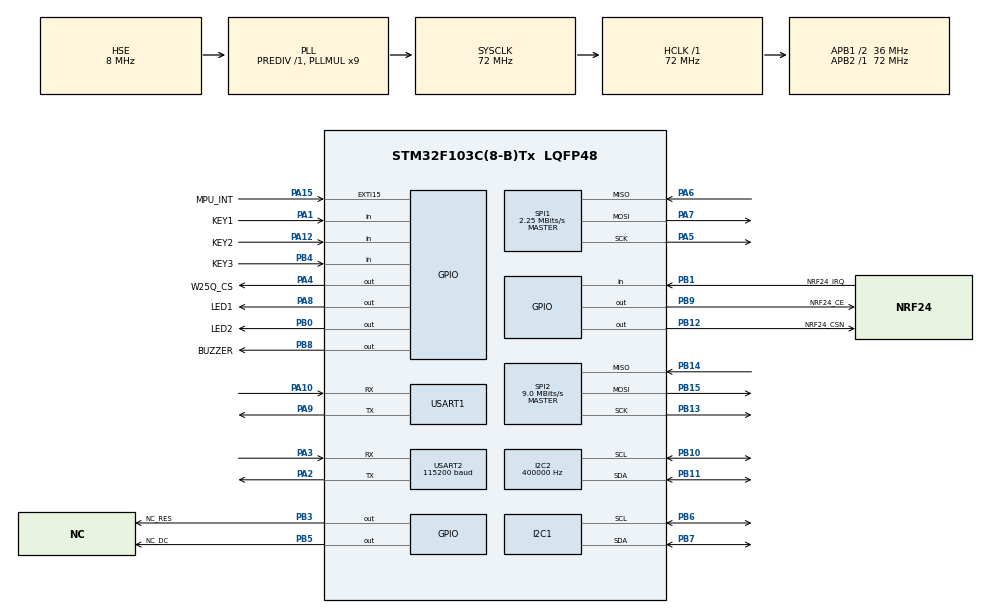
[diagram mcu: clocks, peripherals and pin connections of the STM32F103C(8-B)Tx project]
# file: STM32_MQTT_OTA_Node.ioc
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Dma.Request0=SPI2_TX
Dma.Request1=USART1_TX
Dma.SPI2_TX.0.Direction=DMA_MEMORY_TO_PERIPH
Dma.SPI2_TX.0.Instance=DMA1_Channel5
Dma.SPI2_TX.0.MemDataAlignment=DMA_MDATAALIGN_BYTE
Dma.SPI2_TX.0.MemInc=DMA_MINC_ENABLE
Dma.SPI2_TX.0.Mode=DMA_CIRCULAR
Dma.SPI2_TX.0.PeriphDataAlignment=DMA_PDATAALIGN_BYTE
Dma.SPI2_TX.0.PeriphInc=DMA_PINC_DISABLE
Dma.SPI2_TX.0.Priority=DMA_PRIORITY_LOW
Dma.USART1_TX.0.Direction=DMA_MEMORY_TO_PERIPH
Dma.USART1_TX.0.Instance=DMA1_Channel4
Dma.USART1_TX.0.MemDataAlignment=DMA_MDATAALIGN_BYTE
Dma.USART1_TX.0.MemInc=DMA_MINC_ENABLE
Dma.USART1_TX.0.Mode=DMA_NORMAL
Dma.USART1_TX.0.PeriphDataAlignment=DMA_PDATAALIGN_BYTE
Dma.USART1_TX.0.PeriphInc=DMA_PINC_DISABLE
Dma.USART1_TX.0.Priority=DMA_PRIORITY_LOW
Mcu.Family=STM32F1
Mcu.Name=STM32F103C(8-B)Tx
Mcu.Package=LQFP48
NVIC.EXTI15_10_IRQn=true\\:2\\:0\\:true\\:false\\:true\\:true\\:true
NVIC.DMA1_Channel4_IRQn=true\:9\:0\:true\:false\:true\:false\:true\:true
NVIC.DMA1_Channel5_IRQn=true\:9\:0\:true\:false\:true\:false\:true\:true
NVIC.I2C2_ER_IRQn=true\:9\:0\:true\:false\:true\:false\:true\:true
NVIC.I2C2_EV_IRQn=true\:9\:0\:true\:false\:true\:false\:true\:true
NVIC.PriorityGroup=NVIC_PRIORITYGROUP_4
NVIC.USART1_IRQn=true\:5\:0\:true\:false\:true\:false\:true\:true
NVIC.TIM4_IRQn=true\:0\:0\:true\:false\:true\:false\:true\:true
NVIC.TimeBase=TIM4_IRQn
NVIC.TimeBaseIP=TIM4
PA1.GPIO_Label=KEY1
PA1.GPIO_PuPd=GPIO_PULLUP
PA1.Signal=GPIO_Input
PA10.Mode=Asynchronous
PA10.Signal=USART1_RX
PA15.GPIO_Label=MPU_INT
PA15.GPIO_PuPd=GPIO_PULLUP
PA15.Signal=GPXTI15
PA12.GPIO_Label=KEY2
PA12.GPIO_PuPd=GPIO_PULLUP
PA12.Signal=GPIO_Input
PA13.Mode=Serial_Wire
PA13.Signal=SYS_JTMS-SWDIO
PA14.Mode=Serial_Wire
PA14.Signal=SYS_JTCK-SWCLK
PA2.Mode=Asynchronous
PA2.Signal=USART2_TX
PA3.Mode=Asynchronous
PA3.Signal=USART2_RX
PA4.GPIO_Label=W25Q_CS
PA4.PinState=GPIO_PIN_SET
PA4.Signal=GPIO_Output
PA5.Mode=Full_Duplex_Master
PA5.Signal=SPI1_SCK
PA6.Mode=Full_Duplex_Master
PA6.Signal=SPI1_MISO
PA7.Mode=Full_Duplex_Master
PA7.Signal=SPI1_MOSI
PA8.GPIO_Label=LED1
PA8.PinState=GPIO_PIN_SET
PA8.Signal=GPIO_Output
PA9.Mode=Asynchronous
PA9.Signal=USART1_TX
PB0.GPIO_Label=LED2
PB0.PinState=GPIO_PIN_RESET
PB0.Signal=GPIO_Output
PB1.GPIO_Label=NRF24_IRQ
PB1.GPIO_PuPd=GPIO_PULLUP
PB1.Signal=GPIO_Input
PB10.Mode=I2C
PB10.Signal=I2C2_SCL
PB11.Mode=I2C
PB11.Signal=I2C2_SDA
PB12.GPIO_Label=NRF24_CSN
PB12.PinState=GPIO_PIN_RESET
PB12.Signal=GPIO_Output
PB13.Mode=Full_Duplex_Master
PB13.Signal=SPI2_SCK
PB14.Mode=Full_Duplex_Master
PB14.Signal=SPI2_MISO
PB15.Mode=Full_Duplex_Master
PB15.Signal=SPI2_MOSI
PB3.GPIO_Label=NC_RES
PB3.PinState=GPIO_PIN_SET
PB3.Signal=GPIO_Output
PB4.GPIO_Label=KEY3
PB4.GPIO_PuPd=GPIO_PULLUP
PB4.Signal=GPIO_Input
PB5.GPIO_Label=NC_DC
PB5.PinState=GPIO_PIN_SET
PB5.Signal=GPIO_Output
PB6.Mode=I2C
PB6.Signal=I2C1_SCL
PB7.Mode=I2C
PB7.Signal=I2C1_SDA
PB8.GPIO_Label=BUZZER
PB8.GPIO_PuPd=GPIO_NOPULL
PB8.GPIO_Speed=GPIO_SPEED_FREQ_HIGH
PB8.PinState=GPIO_PIN_SET
PB8.Signal=GPIO_Output
PB9.GPIO_Label=NRF24_CE
PB9.PinState=GPIO_PIN_RESET
PB9.Signal=GPIO_Output
PC14-OSC32_IN.Mode=LSE-External-Oscillator
PC14-OSC32_IN.Signal=RCC_OSC32_IN
PC15-OSC32_OUT.Mode=LSE-External-Oscillator
PC15-OSC32_OUT.Signal=RCC_OSC32_OUT
PD0-OSC_IN.Mode=HSE-External-Oscillator
PD0-OSC_IN.Signal=RCC_OSC_IN
PD1-OSC_OUT.Mode=HSE-External-Oscillator
PD1-OSC_OUT.Signal=RCC_OSC_OUT
ProjectManager.HeapSize=0x200
ProjectManager.StackSize=0x400
ProjectManager.TargetToolchain=STM32CubeIDE
RCC.AHBFreq_Value=72000000
RCC.APB1CLKDivider=RCC_HCLK_DIV2
RCC.APB1Freq_Value=36000000
RCC.APB1TimFreq_Value=72000000
RCC.APB2Freq_Value=72000000
RCC.APB2TimFreq_Value=72000000
RCC.HCLKFreq_Value=72000000
RCC.PLLMUL=RCC_PLL_MUL9
RCC.PLLSourceVirtual=RCC_PLLSOURCE_HSE
RCC.SYSCLKFreq_VALUE=72000000
RCC.SYSCLKSource=RCC_SYSCLKSOURCE_PLLCLK
RCC.USBFreq_Value=72000000
I2C2.ClockSpeed=400000
SPI1.BaudRatePrescaler=SPI_BAUDRATEPRESCALER_16
SPI1.CalculateBaudRate=2.25 MBits/s
SPI1.Direction=SPI_DIRECTION_2LINES
SPI1.Mode=SPI_MODE_MASTER
SPI1.VirtualType=VM_MASTER
SPI2.BaudRatePrescaler=SPI_BAUDRATEPRESCALER_4
SPI2.CalculateBaudRate=9.0 MBits/s
SPI2.Direction=SPI_DIRECTION_2LINES
SPI2.Mode=SPI_MODE_MASTER
SPI2.VirtualType=VM_MASTER
USART1.VirtualMode=VM_ASYNC
USART2.BaudRate=115200
USART2.VirtualMode=VM_ASYNC
VP_SYS_VS_tim4.Mode=TIM4
board=custom

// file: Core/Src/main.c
/* USER CODE BEGIN Header */
/**
  ******************************************************************************
  * @file           : main.c
  * @brief          : Main program body
  ******************************************************************************
  * @attention
  *
  * Copyright (c) 2026 STMicroelectronics.
  * All rights reserved.
  *
  * This software is licensed under terms that can be found in the LICENSE file
  * in the root directory of this software component.
  * If no LICENSE file comes with this software, it is provided AS-IS.
  *
  ******************************************************************************
  */
/* USER CODE END Header */
#include <ssd1306.h>
#include "main.h"

/* USER CODE BEGIN Includes */
#include"buzzer.h"
#include"buttom.h"
#include"main.h"
#include"oled_home.h"
#include"sensor_task.h"
#include"debug_log.h"
#include"task_monitor.h"
/* APP 版本号 + 给 bootloader 读的固定地址版本标签 */
#include "app_version.h"
/* 三节点方案的业务任务入口（由业务层实现，这里只负责调用） */
#include "app_tasks.h"
/* 低功耗：LSE + RTC 闹钟 + EXTI 唤醒源（STOP 模式） */
#include "lowpower.h"
/* 最小验证模式要直接驱动 AHT20 / BMP280 */
#include "aht20.h"
#include "bmp280.h"
/* 8266↔APP 的串口命令枢纽（TH 阈值 / OTA 触发 / TL 遥测行） */
#include "uart_cmd.h"
#include <string.h>
/* USER CODE END Includes */

/* USER CODE BEGIN PD */
/* 最小验证模式：1 = 只留「USART2 日志 + OLED 显示 + AHT20/BMP280」，
 * 其它任务（nRF24 / 8266 / IMU / 告警 / 低功耗 …）一律不建。
 * 目的：把「固件能不能启动 / 屏幕亮不亮 / 传感器读不读得到」三件事一次验清，
 * 排除「加的东西太多把启动搞挂」这种可能。
 * 日志走 USART2（PA2），也就是板子上那个「调试UART 4P」口，插 USB-TTL 直接看。 */
#define MINIMAL_TEST 0
/* USER CODE END PD */

/* USER CODE END PD */

I2C_HandleTypeDef hi2c1;   /* 传感器总线：AHT20 + BMP280 */
I2C_HandleTypeDef hi2c2;   /* OLED：SSD1306 */

SPI_HandleTypeDef hspi1;   /* W25Q128 外置 Flash：与 bootloader 同一路 SPI1/同一组引脚 */
SPI_HandleTypeDef hspi2;   /* NRF24L01+ 无线模块 */
DMA_HandleTypeDef hdma_spi2_tx;
DMA_HandleTypeDef hdma_usart1_tx;  /* 日志串口 DMA */

UART_HandleTypeDef huart1; /* 运行期日志 + bootloader ISP */
UART_HandleTypeDef huart2; /* ESP8266 下载器串口 */

void SystemClock_Config(void);
static void MX_GPIO_Init(void);
static void MX_DMA_Init(void);
static void MX_USART1_UART_Init(void);
static void MX_USART2_UART_Init(void);
static void MX_SPI1_Init(void);
static void MX_SPI2_Init(void);
static void MX_I2C1_Init(void);
static void MX_I2C2_Init(void);

/* USER CODE BEGIN 0 */
#if MINIMAL_TEST
/* ================================================================
 * 最小验证模式（MINIMAL_TEST = 1）
 *
 * 目标：一次把三件事验清楚 —— ①固件能不能启动 ②屏幕亮不亮 ③传感器读不读得到。
 * 做法：只建一个任务（读传感器 + 刷屏），其它全部不初始化；
 *       日志走 USART2（PA2 / 板上「调试UART 4P」），插 USB-TTL 就能看，
 *       完全不碰 USART1（PA9/PA10 = ESP8266 的 OTA 通道）。
 * ================================================================ */

/* ---- 串口输出（阻塞，115200 8N1）----
 * 两个口都发：USART2（PA2，板上「调试UART 4P」口）+ USART1（PA9/PA10，接 ESP8266）。
 * 这样不管 USB-TTL 插在哪个头上都能抓到日志。 */
static void min_out(const char *s)
{
    uint16_t n;

    if (s == NULL) {
        return;
    }
    n = (uint16_t)strlen(s);
    (void)HAL_UART_Transmit(&huart2, (const uint8_t *)s, n, 500U);
    (void)HAL_UART_Transmit(&huart1, (const uint8_t *)s, n, 500U);
}

static void min_out_u32(uint32_t v)
{
    char     b[12];
    uint8_t  i = 11U;

    b[11] = '\0';
    if (v == 0U) {
        b[10] = '0';
        min_out(&b[10]);
        return;
    }
    while (v != 0U) {
        b[--i] = (char)('0' + (v % 10U));
        v /= 10U;
    }
    min_out(&b[i]);
}

/* ---- 字符串拼装（给 OLED 用）---- */
static char *ap_str(char *p, char *end, const char *s)
{
    while ((*s != '\0') && (p < (end - 1))) {
        *p++ = *s++;
    }
    *p = '\0';
    return p;
}

static char *ap_int(char *p, char *end, int32_t v)
{
    char     b[12];
    uint8_t  i = 11U;

    if (v < 0) {
        if (p < (end - 1)) {
            *p++ = '-';
        }
        v = -v;
    }
    b[11] = '\0';
    if (v == 0) {
        b[10] = '0';
    } else {
        while (v != 0) {
            b[--i] = (char)('0' + ((uint32_t)v % 10U));
            v /= 10;
        }
    }
    while ((i < 11U) && (p < (end - 1))) {
        *p++ = b[i++];
    }
    *p = '\0';
    return p;
}

/* 带一位小数的浮点（温度/湿度） */
static char *ap_f1(char *p, char *end, float f)
{
    int32_t t10 = (int32_t)(f * 10.0f + ((f >= 0.0f) ? 0.5f : -0.5f));
    int32_t ip;

    if (t10 < 0) {
        if (p < (end - 1)) {
            *p++ = '-';
        }
        t10 = -t10;
    }
    ip = t10 / 10;
    p = ap_int(p, end, ip);
    if (p < (end - 1)) {
        *p++ = '.';
        *p++ = (char)('0' + (t10 % 10));
        *p = '\0';
    }
    return p;
}

/* 扫一条 I2C 总线，把有应答的地址打到 USART2 */
static void min_i2c_scan(I2C_HandleTypeDef *hi2c, const char *name)
{
    min_out("[MIN] scan ");
    min_out(name);
    min_out(" -> ");
    for (uint8_t a = 1U; a < 127U; a++) {
        if (HAL_I2C_IsDeviceReady(hi2c, (uint16_t)((uint16_t)a << 1), 1U, 20U) == HAL_OK) {
            min_out_u32((uint32_t)((uint16_t)a << 1));
            min_out(" ");
        }
    }
    min_out("\r\n");
}

/* 唯一的一个任务：读 AHT20 + BMP280，串口打一行，屏幕刷两行 */
static void min_task(void *pvParameters)
{
    float    t = 0.0f, h = 0.0f, tb = 0.0f, p = 0.0f;
    uint8_t  a_ok, b_ok;
    char     l0[32];
    char     l1[32];
    char    *e;

    (void)pvParameters;

    if (aht20_init() != 0U) {
        min_out("[MIN] AHT20 init OK\r\n");
    } else {
        min_out("[MIN] AHT20 init FAIL\r\n");
    }
    if (bmp280_init() != 0U) {
        if (bmp280corect() != 0U) {
            min_out("[MIN] BMP280 init+calib OK\r\n");
        } else {
            min_out("[MIN] BMP280 calib FAIL\r\n");
        }
    } else {
        min_out("[MIN] BMP280 init FAIL\r\n");
    }

    for (;;) {
        a_ok = aht20_cluate(&t, &h);
        b_ok = bmp280_sample(&tb, &p);

        /* ---- 串口 ---- */
        min_out("[MIN] T=");
        min_out_u32((uint32_t)(int32_t)(t * 10.0f + ((t >= 0.0f) ? 0.5f : -0.5f)));
        min_out("0 H=");
        min_out_u32((uint32_t)(int32_t)(h * 10.0f + ((h >= 0.0f) ? 0.5f : -0.5f)));
        min_out("0 P=");
        min_out_u32((uint32_t)(int32_t)p);
        min_out(" aht=");
        min_out_u32(a_ok);
        min_out(" bmp=");
        min_out_u32(b_ok);
        min_out("\r\n");

        /* ---- 屏幕 ---- */
        e = ap_str(l0, &l0[sizeof(l0)], "T:");
        e = ap_f1(e, &l0[sizeof(l0)], t);
        e = ap_str(e, &l0[sizeof(l0)], "C H:");
        e = ap_f1(e, &l0[sizeof(l0)], h);
        e = ap_str(e, &l0[sizeof(l0)], "%");

        e = ap_str(l1, &l1[sizeof(l1)], "P:");
        e = ap_int(e, &l1[sizeof(l1)], (int32_t)p);
        e = ap_str(e, &l1[sizeof(l1)], "Pa ");
        e = ap_str(e, &l1[sizeof(l1)], (a_ok != 0U) ? "AHT:OK " : "AHT:NG ");
        e = ap_str(e, &l1[sizeof(l1)], (b_ok != 0U) ? "BMP:OK" : "BMP:NG");

        oled_clear();
        oled_print_line(0, "MINIMAL TEST");
        oled_print_line(1, l0);
        oled_print_line(2, l1);
        oled_print_line(3, "uptime(s):");
        oled_flush();

        vTaskDelay(pdMS_TO_TICKS(1000U));
    }
}

/* ================================================================
 * W25Q 单测：读 JEDEC ID（确认型号）→ 擦扇区 → 写特征数据 → 读回比对
 * 全部用阻塞 SPI，不走 DMA（先把链路本身验干净）
 * ================================================================ */
#define W25Q_CMD_JEDEC 0x9FU
#define W25Q_CMD_RDSR1 0x05U
#define W25Q_CMD_WREN  0x06U
#define W25Q_CMD_SE    0x20U   /* 扇区擦除 4KB */
#define W25Q_CMD_PP    0x02U   /* 页编程 */
#define W25Q_CMD_RD    0x03U   /* 读数据 */
#define W25Q_TEST_ADDR 0x000F0000UL   /* 实测芯片是 W25Q80 = 1MB，所以用 960KB 处，避开槽区/元数据/标志 */
#define W25Q_TEST_LEN  64U

static void w25q_cs(uint8_t select)
{
    HAL_GPIO_WritePin(W25Q_CS_GPIO_Port, W25Q_CS_Pin,
                      (select != 0U) ? GPIO_PIN_RESET : GPIO_PIN_SET);
}

/* 全双工交换 n 字节。返回 1 = SPI 层成功（不代表芯片有应答） */
static uint8_t w25q_xchg(const uint8_t *tx, uint8_t *rx, uint16_t n)
{
    uint8_t ok;

    if (n == 0U) {
        return 1;
    }
    w25q_cs(1U);
    HAL_Delay(1);
    ok = (HAL_SPI_TransmitReceive(&hspi1, (uint8_t *)tx, rx, n, 500U) == HAL_OK) ? 1U : 0U;
    w25q_cs(0U);
    HAL_Delay(1);
    return ok;
}

static void min_out_hex8(uint8_t v)
{
    static const char hexd[] = "0123456789ABCDEF";
    char b[3];
    b[0] = hexd[(v >> 4) & 0x0FU];
    b[1] = hexd[v & 0x0FU];
    b[2] = '\0';
    min_out(b);
}

/* 读状态寄存器（0x05），等 BUSY 清零。返回读到的状态值 */
static uint8_t w25q_status_wait(void)
{
    uint8_t tx[2];
    uint8_t rx[2];
    uint32_t t0 = HAL_GetTick();

    tx[0] = W25Q_CMD_RDSR1;
    tx[1] = 0x00U;
    for (;;) {
        if (w25q_xchg(tx, rx, 2U) == 0U) {
            return 0xFFU;
        }
        if ((rx[1] & 0x01U) == 0U) {        /* BUSY = bit0 */
            return rx[1];
        }
        if ((HAL_GetTick() - t0) > 5000U) {
            return 0xFFU;                    /* 超时 */
        }
    }
}

static void w25q_test(void)
{
    uint8_t  tx[80];
    uint8_t  rx[80];
    uint8_t  id[3];
    uint8_t  st;
    uint32_t i;
    uint32_t bad = 0;
    uint8_t  spi_ok;

    min_out("\r\n===== W25Q test =====\r\n");

    /* ---- 1. JEDEC ID ---- */
    for (i = 0; i < 4U; i++) {
        tx[i] = (i == 0U) ? W25Q_CMD_JEDEC : 0x00U;
    }
    spi_ok = w25q_xchg(tx, rx, 4U);
    if (spi_ok == 0U) {
        min_out("[W25Q] SPI transfer FAILED (HAL timeout)\r\n");
        min_out("[W25Q] -> SPI1 链路或 hspi1 句柄有问题\r\n");
        return;
    }
    id[0] = rx[1];
    id[1] = rx[2];
    id[2] = rx[3];
    min_out("[W25Q] JEDEC ID = ");
    min_out_hex8(id[0]);
    min_out(" ");
    min_out_hex8(id[1]);
    min_out(" ");
    min_out_hex8(id[2]);
    min_out("\r\n");

    if ((id[0] == 0xFFU) || (id[0] == 0x00U)) {
        min_out("[W25Q] -> 无应答：CS#/MISO/MOSI/SCK 接错、芯片没焊、或上电顺序不对\r\n");
    } else if ((id[0] == 0xEFU) && (id[1] == 0x40U)) {
        min_out("[W25Q] -> Winbond 系列，容量码 0x");
        min_out_hex8(id[2]);
        min_out(" (16=32Mbit 17=64Mbit 18=128Mbit)\r\n");
    } else if ((id[0] == 0xC8U) || (id[0] == 0x85U)) {
        min_out("[W25Q] -> 兼容 Winbond 的第三方型号\r\n");
    } else {
        min_out("[W25Q] -> 未知厂商 ID，先确认贴片型号\r\n");
    }

    /* ---- 2. 状态寄存器 ---- */
    tx[0] = W25Q_CMD_RDSR1;
    tx[1] = 0x00U;
    if (w25q_xchg(tx, rx, 2U) != 0U) {
        min_out("[W25Q] SR1 = ");
        min_out_hex8(rx[1]);
        min_out("\r\n");
    }

    /* ---- 3. 写使能 ---- */
    tx[0] = W25Q_CMD_WREN;
    (void)w25q_xchg(tx, rx, 1U);
    tx[0] = W25Q_CMD_RDSR1;
    tx[1] = 0x00U;
    if (w25q_xchg(tx, rx, 2U) != 0U) {
        st = rx[1];
        min_out("[W25Q] after WREN SR1 = ");
        min_out_hex8(st);
        min_out((st & 0x02U) != 0U ? "  (WEL=1 OK)\r\n" : "  (WEL=0 FAIL)\r\n");
        if ((st & 0x02U) == 0U) {
            min_out("[W25Q] -> 写使能没成功，后面的擦写不用试了\r\n");
            return;
        }
    }

    /* ---- 4. 扇区擦除 ---- */
    tx[0] = W25Q_CMD_SE;
    tx[1] = (uint8_t)((W25Q_TEST_ADDR >> 16) & 0xFFU);
    tx[2] = (uint8_t)((W25Q_TEST_ADDR >> 8) & 0xFFU);
    tx[3] = (uint8_t)(W25Q_TEST_ADDR & 0xFFU);
    (void)w25q_xchg(tx, rx, 4U);
    st = w25q_status_wait();
    min_out("[W25Q] sector erase done, SR1 = ");
    min_out_hex8(st);
    min_out("\r\n");

    /* ---- 5. 写 64 字节特征数据 ---- */
    /* 关键：擦除命令用掉了一次 WREN，WEL 会自动清零，
     * 所以每一条擦/写命令前面都必须重新写使能，否则命令被直接忽略（读回全 FF）。 */
    tx[0] = W25Q_CMD_WREN;
    (void)w25q_xchg(tx, rx, 1U);
    tx[0] = W25Q_CMD_PP;
    tx[1] = (uint8_t)((W25Q_TEST_ADDR >> 16) & 0xFFU);
    tx[2] = (uint8_t)((W25Q_TEST_ADDR >> 8) & 0xFFU);
    tx[3] = (uint8_t)(W25Q_TEST_ADDR & 0xFFU);
    for (i = 0; i < W25Q_TEST_LEN; i++) {
        tx[4U + i] = (uint8_t)(0xA0U + i);
    }
    (void)w25q_xchg(tx, rx, (uint16_t)(4U + W25Q_TEST_LEN));
    st = w25q_status_wait();
    min_out("[W25Q] page program done, SR1 = ");
    min_out_hex8(st);
    min_out("\r\n");

    /* ---- 6. 读回比对 ---- */
    tx[0] = W25Q_CMD_RD;
    tx[1] = (uint8_t)((W25Q_TEST_ADDR >> 16) & 0xFFU);
    tx[2] = (uint8_t)((W25Q_TEST_ADDR >> 8) & 0xFFU);
    tx[3] = (uint8_t)(W25Q_TEST_ADDR & 0xFFU);
    for (i = 0; i < W25Q_TEST_LEN; i++) {
        tx[4U + i] = 0x00U;
    }
    if (w25q_xchg(tx, rx, (uint16_t)(4U + W25Q_TEST_LEN)) == 0U) {
        min_out("[W25Q] read back SPI FAILED\r\n");
        return;
    }
    for (i = 0; i < W25Q_TEST_LEN; i++) {
        uint8_t got = rx[4U + i];
        uint8_t exp = (uint8_t)(0xA0U + i);
        if (got != exp) {
            if (bad < 5U) {
                min_out("[W25Q] mismatch @");
                min_out_u32(i);
                min_out(": got ");
                min_out_hex8(got);
                min_out(" expect ");
                min_out_hex8(exp);
                min_out("\r\n");
            }
            bad++;
        }
    }
    if (bad == 0U) {
        min_out("[W25Q] READ-BACK OK, 64/64 bytes match -> 写读都正常\r\n");
    } else {
        min_out("[W25Q] READ-BACK MISMATCH: ");
        min_out_u32(bad);
        min_out(" / 64 bytes wrong\r\n");
    }

    /* ---- 7. 擦回去，别留垃圾 ---- */
    tx[0] = W25Q_CMD_WREN;
    (void)w25q_xchg(tx, rx, 1U);
    tx[0] = W25Q_CMD_SE;
    tx[1] = (uint8_t)((W25Q_TEST_ADDR >> 16) & 0xFFU);
    tx[2] = (uint8_t)((W25Q_TEST_ADDR >> 8) & 0xFFU);
    tx[3] = (uint8_t)(W25Q_TEST_ADDR & 0xFFU);
    (void)w25q_xchg(tx, rx, 4U);
    (void)w25q_status_wait();
    min_out("[W25Q] test sector erased again\r\n");
}
#endif /* MINIMAL_TEST */

static void ledtask(void *pvParameters) {
    (void)pvParameters;          // 避免未使用参数警告

    TickType_t xLastWakeTime = xTaskGetTickCount();
    for (;;) {
        HAL_GPIO_TogglePin(LED2_GPIO_Port, LED2_Pin);    // 直接翻转，不关心极性
        vTaskDelayUntil(&xLastWakeTime, pdMS_TO_TICKS(400)); // 固定周期 400 ms
    }
}

/* 建任务并把结果打出来：堆不够时 xTaskCreate 会失败，
 * 以前忽略返回值的话任务静默不跑，屏幕就一直不亮，很难查 */
static void create_task_checked(TaskFunction_t fn, const char *name,
                                uint16_t stack_words, UBaseType_t priority)
{
    TaskHandle_t handle = NULL;

    if (xTaskCreate(fn, name, stack_words, NULL, priority, &handle) == pdPASS) {
        dbg_printf("[BOOT] %s ok\r\n", name);
        task_monitor_add(name, handle);
    } else {
        dbg_printf("[BOOT] %s FAIL heap=%u\r\n", name, (unsigned)xPortGetFreeHeapSize());
    }
}
/* USER CODE END 0 */

int main(void)
{

  /* USER CODE BEGIN 1 */
  /* 【向量表必须由 APP 自己搬到自己的基址，不能只指望 bootloader】
   * APP 不在 0x08000000，而 CubeMX 生成的 SystemInit() 没有开
   * USER_VECT_TAB_ADDRESS —— 以前只有 bootloader 在跳转前设了 SCB->VTOR。
   * 于是用 ST-Link 单独烧 APP（不经过 bootloader）时 VTOR 一直停在 0，
   * HAL_Init() 一开 SysTick 就去 0x08000000 取处理函数：
   * 那里要么是全 0xFF（空片，第一个中断即 HardFault），
   * 要么是对面 bootloader 的表（处理函数改的是 bootloader 的 RAM）。
   * 症状就是"上电即死、屏幕不亮、VTOR 读出来是 0"。
   * 【这里取链接符号而不是写死地址】改了 .ld 的 ORIGIN 它自动跟着走，
   *   不会再出现"启动地址和向量表地址两个地方各写一份、然后漂移"。 */
  extern const uint32_t g_pfnVectors[];   /* startup_stm32f103c8tx.s 的向量表标号 */
  SCB->VTOR = (uint32_t)&g_pfnVectors[0];

  /* USER CODE END 1 */

  /* MCU Configuration--------------------------------------------------------*/

  /* Reset of all peripherals, Initializes the Flash interface and the Systick. */
  HAL_Init();

  /* Configure the system clock */
  SystemClock_Config();

  /* Initialize all configured peripherals */
  /* 顺序有讲究：DMA 必须排在 SPI 前面（SPI2 的 DMA 句柄是在 HAL_SPI_MspInit 里挂上去的，
   * 那时 DMA1 的时钟必须已经打开）；所有外设 Init 都必须在 HAL_Init()/SystemClock_Config() 之后 */
  MX_GPIO_Init();
  MX_DMA_Init();
  MX_USART1_UART_Init();
  MX_SPI2_Init();
  MX_I2C1_Init();
  MX_I2C2_Init();
  MX_SPI1_Init();
  MX_USART2_UART_Init();
  /* USER CODE BEGIN 2 */
#if MINIMAL_TEST
  /* ============================================================
   * 最小验证模式：只做「启动 → 屏幕 → 传感器」，别的都不建。
   * 日志出口是 USART2（PA2，板上「调试UART 4P」口）。
   * ============================================================ */
  min_out("\r\n\r\n===== MINIMAL TEST boot (USART2 115200) =====\r\n");
  w25q_test();
  min_i2c_scan(&hi2c2, "I2C2/OLED");
  min_i2c_scan(&hi2c1, "I2C1/SEN");

  ssd1306_init();
  min_out("[MIN] OLED present=");
  min_out_u32(oled_device_present());
  min_out(" i2c_err=");
  min_out_u32(oled_i2c_errors());
  min_out("\r\n");
  /* ssd1306_selftest();  \u2014\u2014 \u5f00\u673a\u6574\u5c4f\u70b9\u4eae 1 \u79d2\u7684\u81ea\u68c0\uff0c\u7528\u6237\u89c6\u89d2\u662f\u300c\u767d\u4e00\u4e0b\u5c31\u9ed1\u300d\uff0c\u53bb\u6389 */

  {
    TaskHandle_t h_min = NULL;
    if (xTaskCreate(min_task, "min", 512U, NULL, 2U, &h_min) == pdPASS) {
      min_out("[MIN] task create OK\r\n");
    } else {
      min_out("[MIN] task create FAILED\r\n");
    }
  }
  vTaskStartScheduler();
  min_out("[MIN] scheduler returned!\r\n");
  while (1) {
    HAL_Delay(1000U);
  }
#else
  /* 低功耗初始化：LSE + RTC(1Hz 闹钟) + EXTI0(PC0 MPU INT) + EXTI1(PB1 nRF24 IRQ)
   * 必须在调度器启动前做完，否则任务一起来就可能进 STOP，来不及报日志 */
  /* lp_init(); \u2014\u2014 \u4f4e\u529f\u8017\u6682\u65f6\u505c\u7528\uff08\u7528\u6237\u8981\u6c42\uff09 */

  dbg_printf("\r\n\r\n===== STM32_MQTT_OTA_Node boot (uart1 115200) =====\r\n");
  dbg_printf("[APP] version=%s\r\n", app_version_str());
  dbg_report_reset_cause();   /* 为什么重启：复位脚/上电/看门狗/软件复位 */

  buzzer_init();

  /* 电池 ADC（PA0 = ADC12_IN0）：必须在调度器启动前配好，
   * 采集本身由 sensor_task 按 20 秒一次去做。
   * 【.ioc 里没有 ADC，也不会有】这一段是运行时自己配寄存器的，
   *   CubeMX 重生成冲不掉（见 sensor_task.c 文件头的说明）。 */
  battery_adc_init();

  /* 屏幕初始化 + 自检：整屏点亮 1 秒，亮说明面板和通信都通 */
  ssd1306_init();
  dbg_printf("[OLED] device present=%u, i2c errors=%lu\r\n",
             (unsigned)oled_device_present(), (unsigned long)oled_i2c_errors());
  /* ssd1306_selftest();  \u2014\u2014 \u5f00\u673a\u6574\u5c4f\u70b9\u4eae 1 \u79d2\u7684\u81ea\u68c0\uff0c\u7528\u6237\u89c6\u89d2\u662f\u300c\u767d\u4e00\u4e0b\u5c31\u9ed1\u300d\uff0c\u53bb\u6389 */

  /* 建任务。
   * 蜂鸣器原来单独建一个任务等信号量，那条链 2026-11-03 现场静默失效
   * （告警任务明明调了 buzzer_beep，声音就是不出来）。现在蜂鸣器由调用者
   * 任务直接写脚，这个任务不再需要，删掉也省回 512 字节堆。 */
  /* 栈是堆里最贵的部分（1 word = 4 字节，13 个任务加起来要 10KB+），
   * 这里的数字是「够用」的下限，别再往上加 —— 堆只有 12KB。 */
  create_task_checked(button,      "2",    160U, 2U);
  create_task_checked(ledtask,     "led",  128U, 1U);
  /* 优先级不能比 ucmd 低：ucmd 是阻塞收包的，低于它的任务会被饿死
   *（表现：传感器数值永远 0、OLED 全黑）。这两个抬到 2 跟 ucmd 同级。 */
  create_task_checked(oled_task,   "oled", 320U, 2U);
  create_task_checked(sensor_task, "sen",  320U, 2U);

  /* 三节点方案的业务任务入口（建 W25Q / NRF24 等任务）：
   * 必须放在调度器启动之前，这样它建的任务和上面这些老任务一起被调度，
   * 不会漏掉开机阶段 */
  app_tasks_init();

  vTaskStartScheduler();

  /* 正常不会走到这里；走到了说明调度器启动失败（多半是堆不够） */
  dbg_printf("[FATAL] vTaskStartScheduler returned! heap free=%u B\r\n",
             (unsigned)xPortGetFreeHeapSize());
#endif /* MINIMAL_TEST */
  /* USER CODE END 2 */

  /* Infinite loop */
  while (1)
  {

  }
}

void SystemClock_Config(void)
{
  RCC_OscInitTypeDef RCC_OscInitStruct = {0};
  RCC_ClkInitTypeDef RCC_ClkInitStruct = {0};

  /** Initializes the RCC Oscillators according to the specified parameters
  * in the RCC_OscInitTypeDef structure.
  */
  RCC_OscInitStruct.OscillatorType = RCC_OSCILLATORTYPE_HSE;
  RCC_OscInitStruct.HSEState = RCC_HSE_ON;
  RCC_OscInitStruct.HSEPredivValue = RCC_HSE_PREDIV_DIV1;
  RCC_OscInitStruct.HSIState = RCC_HSI_ON;
  RCC_OscInitStruct.PLL.PLLState = RCC_PLL_ON;
  RCC_OscInitStruct.PLL.PLLSource = RCC_PLLSOURCE_HSE;
  RCC_OscInitStruct.PLL.PLLMUL = RCC_PLL_MUL9;
  if (HAL_RCC_OscConfig(&RCC_OscInitStruct) != HAL_OK)
  {
    Error_Handler();
  }

  /** Initializes the CPU, AHB and APB buses clocks
  */
  RCC_ClkInitStruct.ClockType = RCC_CLOCKTYPE_HCLK|RCC_CLOCKTYPE_SYSCLK
                              |RCC_CLOCKTYPE_PCLK1|RCC_CLOCKTYPE_PCLK2;
  RCC_ClkInitStruct.SYSCLKSource = RCC_SYSCLKSOURCE_PLLCLK;
  RCC_ClkInitStruct.AHBCLKDivider = RCC_SYSCLK_DIV1;
  RCC_ClkInitStruct.APB1CLKDivider = RCC_HCLK_DIV2;
  RCC_ClkInitStruct.APB2CLKDivider = RCC_HCLK_DIV1;

  if (HAL_RCC_ClockConfig(&RCC_ClkInitStruct, FLASH_LATENCY_2) != HAL_OK)
  {
    Error_Handler();
  }
}

static void MX_I2C1_Init(void)
{

  hi2c1.Instance = I2C1;
  hi2c1.Init.ClockSpeed = 100000;
  hi2c1.Init.DutyCycle = I2C_DUTYCYCLE_2;
  hi2c1.Init.OwnAddress1 = 0;
  hi2c1.Init.AddressingMode = I2C_ADDRESSINGMODE_7BIT;
  hi2c1.Init.DualAddressMode = I2C_DUALADDRESS_DISABLE;
  hi2c1.Init.OwnAddress2 = 0;
  hi2c1.Init.GeneralCallMode = I2C_GENERALCALL_DISABLE;
  hi2c1.Init.NoStretchMode = I2C_NOSTRETCH_DISABLE;
  if (HAL_I2C_Init(&hi2c1) != HAL_OK)
  {
    Error_Handler();
  }

}

static void MX_I2C2_Init(void)
{

  hi2c2.Instance = I2C2;
  hi2c2.Init.ClockSpeed = 400000;
  hi2c2.Init.DutyCycle = I2C_DUTYCYCLE_2;
  hi2c2.Init.OwnAddress1 = 0;
  hi2c2.Init.AddressingMode = I2C_ADDRESSINGMODE_7BIT;
  hi2c2.Init.DualAddressMode = I2C_DUALADDRESS_DISABLE;
  hi2c2.Init.OwnAddress2 = 0;
  hi2c2.Init.GeneralCallMode = I2C_GENERALCALL_DISABLE;
  hi2c2.Init.NoStretchMode = I2C_NOSTRETCH_DISABLE;
  if (HAL_I2C_Init(&hi2c2) != HAL_OK)
  {
    Error_Handler();
  }

}

static void MX_SPI1_Init(void)
{

  /* SPI1 parameter configuration*/
  hspi1.Instance = SPI1;
  hspi1.Init.Mode = SPI_MODE_MASTER;
  hspi1.Init.Direction = SPI_DIRECTION_2LINES;
  hspi1.Init.DataSize = SPI_DATASIZE_8BIT;
  hspi1.Init.CLKPolarity = SPI_POLARITY_LOW;
  hspi1.Init.CLKPhase = SPI_PHASE_1EDGE;
  hspi1.Init.NSS = SPI_NSS_SOFT;
  hspi1.Init.BaudRatePrescaler = SPI_BAUDRATEPRESCALER_16;
  hspi1.Init.FirstBit = SPI_FIRSTBIT_MSB;
  hspi1.Init.TIMode = SPI_TIMODE_DISABLE;
  hspi1.Init.CRCCalculation = SPI_CRCCALCULATION_DISABLE;
  hspi1.Init.CRCPolynomial = 10;
  if (HAL_SPI_Init(&hspi1) != HAL_OK)
  {
    Error_Handler();
  }

}

static void MX_SPI2_Init(void)
{

  /* SPI2 parameter configuration*/
  hspi2.Instance = SPI2;
  hspi2.Init.Mode = SPI_MODE_MASTER;
  hspi2.Init.Direction = SPI_DIRECTION_2LINES;
  hspi2.Init.DataSize = SPI_DATASIZE_8BIT;
  hspi2.Init.CLKPolarity = SPI_POLARITY_LOW;
  hspi2.Init.CLKPhase = SPI_PHASE_1EDGE;
  hspi2.Init.NSS = SPI_NSS_SOFT;
  hspi2.Init.BaudRatePrescaler = SPI_BAUDRATEPRESCALER_4;
  hspi2.Init.FirstBit = SPI_FIRSTBIT_MSB;
  hspi2.Init.TIMode = SPI_TIMODE_DISABLE;
  hspi2.Init.CRCCalculation = SPI_CRCCALCULATION_DISABLE;
  hspi2.Init.CRCPolynomial = 10;
  if (HAL_SPI_Init(&hspi2) != HAL_OK)
  {
    Error_Handler();
  }

}

static void MX_USART1_UART_Init(void)
{

  huart1.Instance = USART1;
  /* 与 8266 的 STM32_UART_BAUD 一致；降档时两边同时 -DSTM32_LINK_BAUD=57600。
   * 默认值保持 115200，不影响现有部署。 */
#ifndef STM32_LINK_BAUD
#define STM32_LINK_BAUD 115200
#endif
  huart1.Init.BaudRate = STM32_LINK_BAUD;
  huart1.Init.WordLength = UART_WORDLENGTH_8B;
  huart1.Init.StopBits = UART_STOPBITS_1;
  huart1.Init.Parity = UART_PARITY_NONE;
  huart1.Init.Mode = UART_MODE_TX_RX;
  huart1.Init.HwFlowCtl = UART_HWCONTROL_NONE;
  huart1.Init.OverSampling = UART_OVERSAMPLING_16;
  if (HAL_UART_Init(&huart1) != HAL_OK)
  {
    Error_Handler();
  }

}

static void MX_USART2_UART_Init(void)
{

  /* USART2 parameter configuration*/
  huart2.Instance = USART2;
  huart2.Init.BaudRate = 115200;
  huart2.Init.WordLength = UART_WORDLENGTH_8B;
  huart2.Init.StopBits = UART_STOPBITS_1;
  huart2.Init.Parity = UART_PARITY_NONE;
  huart2.Init.Mode = UART_MODE_TX_RX;
  huart2.Init.HwFlowCtl = UART_HWCONTROL_NONE;
  huart2.Init.OverSampling = UART_OVERSAMPLING_16;
  if (HAL_UART_Init(&huart2) != HAL_OK)
  {
    Error_Handler();
  }

}

static void MX_DMA_Init(void)
{

  /* DMA controller clock enable */
  __HAL_RCC_DMA1_CLK_ENABLE();

  /* 日志走 DMA1_Channel4（USART1_TX）：串口打印不再阻塞任务 */
  hdma_usart1_tx.Instance = DMA1_Channel4;
  hdma_usart1_tx.Init.Direction = DMA_MEMORY_TO_PERIPH;
  hdma_usart1_tx.Init.PeriphInc = DMA_PINC_DISABLE;
  hdma_usart1_tx.Init.MemInc = DMA_MINC_ENABLE;
  hdma_usart1_tx.Init.PeriphDataAlignment = DMA_PDATAALIGN_BYTE;
  hdma_usart1_tx.Init.MemDataAlignment = DMA_MDATAALIGN_BYTE;
  hdma_usart1_tx.Init.Mode = DMA_NORMAL;
  hdma_usart1_tx.Init.Priority = DMA_PRIORITY_LOW;
  if (HAL_DMA_Init(&hdma_usart1_tx) != HAL_OK)
  {
    Error_Handler();
  }

  /* DMA interrupt init */
  /* DMA1_Channel5_IRQn interrupt configuration */
  HAL_NVIC_SetPriority(DMA1_Channel5_IRQn, 9, 0);
  HAL_NVIC_EnableIRQ(DMA1_Channel5_IRQn);
  /* DMA1_Channel4_IRQn interrupt configuration */
  HAL_NVIC_SetPriority(DMA1_Channel4_IRQn, 9, 0);
  HAL_NVIC_EnableIRQ(DMA1_Channel4_IRQn);

}

static void MX_GPIO_Init(void)
{
  GPIO_InitTypeDef GPIO_InitStruct = {0};

  /* GPIO Ports Clock Enable */
  __HAL_RCC_GPIOC_CLK_ENABLE();
  __HAL_RCC_GPIOD_CLK_ENABLE();
  __HAL_RCC_GPIOA_CLK_ENABLE();
  __HAL_RCC_GPIOB_CLK_ENABLE();

  /*Configure GPIO pin Output Level */
  /* W25Q 的 CS# 低有效，空闲保持高；LED1 初始为灭 */
  HAL_GPIO_WritePin(GPIOA, W25Q_CS_Pin|LED1_Pin, GPIO_PIN_SET);

  /*Configure GPIO pin Output Level */
  /* NRF24 的 CE/CSN 初值都为低（不发射、不选中），LED2 初始为灭 */
  HAL_GPIO_WritePin(GPIOB, LED2_Pin|NRF24_CE_Pin|NRF24_CSN_Pin, GPIO_PIN_RESET);

  /*Configure GPIO pin Output Level */
  /* 蜂鸣器低电平触发，空闲必须写高（不响）；NC_RES/NC_DC 是已下线 TFT 屏的占位脚 */
  HAL_GPIO_WritePin(GPIOB, BUZZER_Pin|NC_RES_Pin|NC_DC_Pin, GPIO_PIN_SET);

  /*Configure GPIO pins : KEY1_Pin KEY2_Pin */
  GPIO_InitStruct.Pin = KEY1_Pin|KEY2_Pin;
  GPIO_InitStruct.Mode = GPIO_MODE_INPUT;
  GPIO_InitStruct.Pull = GPIO_PULLUP;
  HAL_GPIO_Init(GPIOA, &GPIO_InitStruct);

  /*Configure GPIO pins : W25Q_CS_Pin LED1_Pin */
  GPIO_InitStruct.Pin = W25Q_CS_Pin|LED1_Pin;
  GPIO_InitStruct.Mode = GPIO_MODE_OUTPUT_PP;
  GPIO_InitStruct.Pull = GPIO_NOPULL;
  GPIO_InitStruct.Speed = GPIO_SPEED_FREQ_LOW;
  HAL_GPIO_Init(GPIOA, &GPIO_InitStruct);

  /*Configure GPIO pin : NRF24_IRQ_Pin（模块拉低表示有事件，MCU 侧上拉输入） */
  GPIO_InitStruct.Pin = NRF24_IRQ_Pin;
  GPIO_InitStruct.Mode = GPIO_MODE_INPUT;
  GPIO_InitStruct.Pull = GPIO_PULLUP;
  HAL_GPIO_Init(GPIOB, &GPIO_InitStruct);

  /*Configure GPIO pin : KEY3_Pin（原 LCD 片选，现为第三个按键，上拉输入） */
  GPIO_InitStruct.Pin = KEY3_Pin;
  GPIO_InitStruct.Mode = GPIO_MODE_INPUT;
  GPIO_InitStruct.Pull = GPIO_PULLUP;
  HAL_GPIO_Init(KEY3_GPIO_Port, &GPIO_InitStruct);

  /*Configure GPIO pins : LED2_Pin NRF24_CE_Pin NRF24_CSN_Pin */
  GPIO_InitStruct.Pin = LED2_Pin|NRF24_CE_Pin|NRF24_CSN_Pin;
  GPIO_InitStruct.Mode = GPIO_MODE_OUTPUT_PP;
  GPIO_InitStruct.Pull = GPIO_NOPULL;
  GPIO_InitStruct.Speed = GPIO_SPEED_FREQ_LOW;
  HAL_GPIO_Init(GPIOB, &GPIO_InitStruct);

  /*Configure GPIO pin : BUZZER_Pin */
  GPIO_InitStruct.Pin = BUZZER_Pin;
  GPIO_InitStruct.Mode = GPIO_MODE_OUTPUT_PP;
  GPIO_InitStruct.Pull = GPIO_NOPULL;
  GPIO_InitStruct.Speed = GPIO_SPEED_FREQ_HIGH;
  HAL_GPIO_Init(BUZZER_GPIO_Port, &GPIO_InitStruct);

  /*Configure GPIO pins : NC_RES_Pin NC_DC_Pin */
  GPIO_InitStruct.Pin = NC_RES_Pin|NC_DC_Pin;
  GPIO_InitStruct.Mode = GPIO_MODE_OUTPUT_PP;
  GPIO_InitStruct.Pull = GPIO_NOPULL;
  GPIO_InitStruct.Speed = GPIO_SPEED_FREQ_LOW;
  HAL_GPIO_Init(GPIOB, &GPIO_InitStruct);

  /* USER CODE BEGIN MX_GPIO_Init_2 */

  /* 【OTA 演示脚 PA11】推挽输出，开机即置高。
   * 为什么不是 PA7：PA7 是 SPI1_MOSI（接 W25Q128），已被占用。
   * 这块板能用的空脚只剩 PA0（电池分压 ADC）、PA11（原本保留给 USART CTS）、
   * PA15（MPU6050 INT），所以挑 PA11。
   * 这里直接写寄存器而不是 HAL_GPIO_Init：APP 区只剩几十字节 Flash，
   * 省一点是一点。CRH 里 pin11 占 bit12~15：MODE=11(50MHz)、CNF=00(推挽)。
   *
   * 【两套固件靠这个开关区分】
   *   DEMO_PA11 = 0 → 基线固件（PA11 不动，演示前板子上跑的就是它）
   *   DEMO_PA11 = 1 → 演示固件（PA11 置高，后台 OTA 刷完这版 LED 就亮） */
#ifndef DEMO_PA11
#define DEMO_PA11 1
#endif
#if DEMO_PA11
  GPIOA->CRH  = (GPIOA->CRH & ~(0xFU << 12)) | (0x3U << 12);
  GPIOA->BSRR = GPIO_PIN_11;              /* 输出高 = 点亮对面那颗 LED */
#endif

  /* USER CODE END MX_GPIO_Init_2 */
}

void HAL_TIM_PeriodElapsedCallback(TIM_HandleTypeDef *htim)
{
  if (htim->Instance == TIM4)
  {
    HAL_IncTick();
  }
}

void Error_Handler(void)
{
  /* USER CODE BEGIN Error_Handler_Debug */
  /* 【原来这里是 __disable_irq(); while(1){} —— 一句话不说地冻死】
   * HSE 起不来、任何一个 MX_*_Init 返回非 HAL_OK 都会走进来，本工程有 9 个入口。
   * 现场没有调试器时现象就是"上电即死"，和芯片坏了根本分不开。
   *
   * 现在：先把调用点地址打出来（拿它去 STM32_MQTT_OTA_Node.list / .map 里查是哪一个
   * MX_xxx_Init 失败的，不用猜），空转一会儿让日志发完，然后自复位。
   * 宁可反复重启、每一轮都留下一行原因，也不要永久冻住。
   *
   * 【为什么这里不能用 HAL_Delay 或任何带超时的 HAL 调用】
   *   __disable_irq() 之后 TIM4/SysTick 不再进中断，HAL_GetTick() 停在原地，
   *   超时判断永远不成立 —— 那就是"卡死在打印之后"的第二个坑。
   *   所以只用带计数守卫的 dbg_fatal_* 输出 + 空转循环。 */
  uint32_t from = (uint32_t)__builtin_return_address(0);

  __disable_irq();

  dbg_fatal_puts("\r\n[FATAL] Error_Handler\r\n");
  dbg_fatal_hex("  called from ", from);

  for (volatile uint32_t i = 0; i < 4000000UL; i++) { }

  NVIC_SystemReset();
  for ( ; ; )
  {
  }
  /* USER CODE END Error_Handler_Debug */
}
